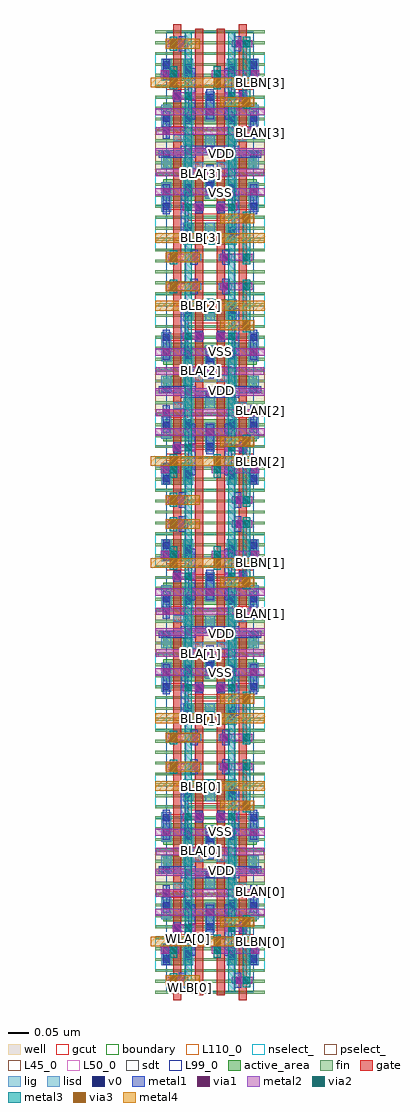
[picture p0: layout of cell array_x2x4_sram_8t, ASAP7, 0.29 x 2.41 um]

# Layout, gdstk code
from math import pi, radians
import gdstk
lib = gdstk.Library(unit=1e-6, precision=2.5e-10)
def R(c, l, rs):  # rectangles x0, y0, x1, y1
    for r in rs: c.add(gdstk.rectangle(r[:2], r[2:], *l))
def A(c, l, x, y, w, h, nx, ny, dx, dy):  # array of equal rectangles
    R(c, l, [(x+i*dx, y+j*dy, x+i*dx+w, y+j*dy+h) for i in range(nx) for j in range(ny)])
def P(c, l, *ps):  # polygons
    for p in ps: c.add(gdstk.Polygon(p, *l))
well = (1, 0)
fin = (2, 0)
gate = (7, 0)
gcut = (10, 0)
active_area = (11, 0)
nselect_ = (12, 0)
pselect_ = (13, 0)
lig = (16, 0)
lisd = (17, 0)
v0 = (18, 0)
metal1 = (19, 0)
metal2 = (20, 0)
via1 = (21, 0)
via2 = (25, 0)
metal3 = (30, 0)
via3 = (35, 0)
metal4 = (40, 0)
L45_0 = (45, 0)
L50_0 = (50, 0)
sdt = (88, 0)
L99_0 = (99, 0)
boundary = (100, 0)
L110_0 = (110, 0)

sram_cell_8t = lib.new_cell('sram_cell_8t')
R(sram_cell_8t, well, [(-0.027,0.081,0.135,0.189)])
A(sram_cell_8t, fin, -0.027, -0.1655, 0.162, 0.007, 1, 23, 0, 0.027)
R(sram_cell_8t, gate, [(0.017,-0.181,0.037,0.439), (0.071,-0.169,0.091,0.451)])
R(sram_cell_8t, gcut, [(0,-0.0355,0.054,-0.0185), (0.054,-0.0085,0.108,0.0085), (0,0.0715,0.054,0.0885), (0.054,0.1815,0.108,0.1985), (0,0.2615,0.054,0.2785), (0.054,0.2885,0.108,0.3055)])
R(sram_cell_8t, active_area, [(-0.008,-0.0945,0.062,-0.0405), (-0.008,0.0135,0.116,0.0675), (0.046,0.0945,0.116,0.1215), (-0.008,0.1485,0.062,0.1755), (-0.008,0.2025,0.116,0.2565), (0.046,0.3105,0.116,0.3645)])
R(sram_cell_8t, nselect_, [(-0.027,-0.108,0.135,-0.027), (-0.027,0,0.135,0.081), (-0.027,0.189,0.135,0.27), (-0.027,0.297,0.135,0.378)])
R(sram_cell_8t, pselect_, [(-0.027,0.081,0.135,0.189)])
R(sram_cell_8t, lig, [(0.017,-0.14,0.054,-0.124), (0.016,-0.0115,0.037,0.0045), (0.017,0.0935,0.054,0.1095), (0.054,0.1605,0.091,0.1765), (0.071,0.2655,0.092,0.2815), (0.054,0.388,0.086,0.404)])
R(sram_cell_8t, lisd, [(-0.012,-0.0945,0.012,-0.0405), (0.042,-0.0945,0.066,-0.0405), (0.096,-0.013,0.12,0.059), (-0.012,0.019,0.012,0.073), (0.042,0.0235,0.066,0.118), (0.096,0.0945,0.12,0.1385), (-0.012,0.1315,0.012,0.1755), (0.042,0.152,0.066,0.2465), (0.096,0.197,0.12,0.251), (-0.012,0.2105,0.012,0.283), (0.042,0.3105,0.066,0.3645), (0.096,0.3105,0.12,0.3645)])
R(sram_cell_8t, v0, [(0.0305,-0.141,0.0485,-0.123), (-0.009,-0.0885,0.009,-0.0705), (0.045,-0.0765,0.063,-0.0585), (0.018,-0.0125,0.036,0.0055), (0.099,-0.009,0.117,0.009), (-0.009,0.043,0.009,0.061), (0.045,0.043,0.063,0.061), (0.099,0.1205,0.117,0.1385), (-0.009,0.1315,0.009,0.1495), (0.099,0.209,0.117,0.227), (0.045,0.2195,0.063,0.2375), (-0.009,0.261,0.009,0.279), (0.072,0.2645,0.09,0.2825), (0.045,0.3285,0.063,0.3465), (0.099,0.339,0.117,0.357), (0.0595,0.387,0.0775,0.405)])
R(sram_cell_8t, metal1, [(0.0305,-0.151,0.0485,-0.113), (-0.009,-0.0935,0.009,-0.043), (0.099,-0.019,0.117,0.055), (0.018,-0.017,0.036,0.011), (-0.009,0.0345,0.009,0.1025), (0.099,0.1675,0.117,0.2355), (-0.009,0.215,0.009,0.289), (0.072,0.2585,0.09,0.2865), (0.099,0.334,0.117,0.362), (0.0595,0.377,0.0775,0.415)])
P(sram_cell_8t, metal1, [(0.127,0.1385),(0.0725,0.1385),(0.0725,0.1495),(-0.019,0.1495),(-0.019,0.1315),(0.0355,0.1315),(0.0355,0.1205),(0.127,0.1205)],
  [(0.045,-0.0815),(0.063,-0.0815),(0.063,-0.0715),(0.072,-0.0715),(0.072,0.056),(0.063,0.056),(0.063,0.066),(0.045,0.066),(0.045,0.038),(0.054,0.038),(0.054,-0.0535),(0.045,-0.0535)],
  [(0.045,0.2155),(0.063,0.2155),(0.063,0.2435),(0.054,0.2435),(0.054,0.3235),(0.063,0.3235),(0.063,0.3515),(0.045,0.3515),(0.045,0.3415),(0.036,0.3415),(0.036,0.2255),(0.045,0.2255)])
A(sram_cell_8t, metal2, -0.027, 0.027, 0.162, 0.018, 1, 3, 0, 0.099)
R(sram_cell_8t, metal2, [(0.004,-0.141,0.0535,-0.123), (-0.014,-0.066,0.032,-0.048), (0.016,-0.012,0.072,0.006), (-0.026,0.0745,0.136,0.0925), (-0.026,0.1775,0.136,0.1955), (0.04,0.2635,0.092,0.2815), (0.093,0.339,0.123,0.357), (0.004,0.387,0.0825,0.405)])
R(sram_cell_8t, via1, [(0.0305,-0.141,0.0485,-0.123), (-0.009,-0.066,0.009,-0.048), (0.018,-0.012,0.036,0.006), (0.099,0.027,0.117,0.045), (-0.009,0.0745,0.009,0.0925), (0.045,0.126,0.063,0.144), (0.099,0.1775,0.117,0.1955), (-0.009,0.225,0.009,0.243), (0.072,0.2635,0.09,0.2815), (0.099,0.339,0.117,0.357), (0.0595,0.387,0.0775,0.405)])
R(sram_cell_8t, via2, [(0.009,-0.141,0.027,-0.123), (0.009,-0.066,0.027,-0.048), (0.045,-0.012,0.063,0.006), (0.045,0.2635,0.063,0.2815), (0.099,0.339,0.117,0.357), (0.009,0.387,0.027,0.405)])
R(sram_cell_8t, metal3, [(0.045,-0.162,0.063,0.432), (0.009,-0.149,0.027,-0.115), (0.009,-0.077,0.027,-0.019), (0.099,0.331,0.117,0.365), (0.009,0.379,0.027,0.413)])
R(sram_cell_8t, via3, [(0.009,-0.144,0.027,-0.12), (0.009,-0.048,0.027,-0.024), (0.099,0.336,0.117,0.36), (0.009,0.384,0.027,0.408)])
R(sram_cell_8t, metal4, [(-0.002,-0.144,0.083,-0.12), (-0.038,-0.048,0.135,-0.024), (-0.027,0.336,0.135,0.36), (-0.002,0.384,0.083,0.408)])
R(sram_cell_8t, L45_0, [(0.048,-0.144,0.072,-0.12), (0.048,0.384,0.072,0.408)])
R(sram_cell_8t, L50_0, [(0.048,-0.162,0.072,0.432)])
R(sram_cell_8t, sdt, [(-0.012,-0.0945,0.012,-0.0405), (0.042,-0.0945,0.066,-0.0405), (0.096,0.005,0.12,0.059), (-0.012,0.019,0.012,0.073), (0.042,0.0235,0.066,0.0775), (0.042,0.091,0.066,0.118), (0.096,0.0945,0.12,0.1215), (-0.012,0.1485,0.012,0.1755), (0.042,0.152,0.066,0.179), (0.042,0.1925,0.066,0.2465), (0.096,0.197,0.12,0.251), (-0.012,0.2105,0.012,0.2645), (0.042,0.3105,0.066,0.3645), (0.096,0.3105,0.12,0.3645)])
R(sram_cell_8t, L99_0, [(0,-0.162,0.108,0.432)])
R(sram_cell_8t, boundary, [(0,-0.162,0.108,0.432)])
R(sram_cell_8t, L110_0, [(0,-0.162,0.108,0.432)])
sram_cell_8t.add(gdstk.Label('vss!', (0.081,0.235), layer=20, texttype=251))
sram_cell_8t.add(gdstk.Label('vss!', (0.074,0.036), layer=20, texttype=251))
sram_cell_8t.add(gdstk.Label('vdd!', (0.0795,0.1395), layer=20, texttype=251))
sram_cell_8t.add(gdstk.Label('BLA', (0.13,0.1885), layer=20, texttype=251))
sram_cell_8t.add(gdstk.Label('BLAN', (-0.018,0.088), layer=20, texttype=251))
sram_cell_8t.add(gdstk.Label('WLA', (0.054,-0.028), layer=30, texttype=251))
sram_cell_8t.add(gdstk.Label('vdd!', (0.048,0.148), layer=1, texttype=251))
sram_cell_8t.add(gdstk.Label('vss!', (0.048,0.2245), layer=3, texttype=251))
sram_cell_8t.add(gdstk.Label('vss!', (0.048,0.044), layer=3, texttype=251))
sram_cell_8t.add(gdstk.Label('BLBN', (-0.018,-0.036), layer=40, texttype=251))
sram_cell_8t.add(gdstk.Label('BLB', (0.13,0.348), layer=40, texttype=251))
sram_cell_8t.add(gdstk.Label('WLB', (0.06,-0.15), layer=50, texttype=251))
sram_cell_8t.add(gdstk.Label('vss!', (0.048,-0.0675), layer=3, texttype=251))
sram_cell_8t.add(gdstk.Label('vss!', (0.048,0.3375), layer=3, texttype=251))

sram_cell_8t_b_end = lib.new_cell('sram_cell_8t_b_end')
R(sram_cell_8t_b_end, well, [(-0.027,0.081,0.135,0.189)])
A(sram_cell_8t_b_end, fin, -0.027, -0.1655, 0.162, 0.007, 1, 23, 0, 0.027)
R(sram_cell_8t_b_end, gate, [(0.017,-0.181,0.037,0.439), (0.071,-0.169,0.091,0.451)])
R(sram_cell_8t_b_end, gcut, [(0,-0.0355,0.054,-0.0185), (0.054,-0.0085,0.108,0.0085), (0,0.0715,0.054,0.0885), (0.054,0.1815,0.108,0.1985), (0,0.2615,0.054,0.2785), (0.054,0.2885,0.108,0.3055)])
R(sram_cell_8t_b_end, active_area, [(-0.008,-0.0945,0.062,-0.0405), (-0.008,0.0135,0.116,0.0675), (0.046,0.0945,0.116,0.1215), (-0.008,0.1485,0.062,0.1755), (-0.008,0.2025,0.116,0.2565), (0.046,0.3105,0.116,0.3645)])
R(sram_cell_8t_b_end, nselect_, [(-0.027,-0.108,0.135,-0.027), (-0.027,0,0.135,0.081), (-0.027,0.189,0.135,0.27), (-0.027,0.297,0.135,0.378)])
R(sram_cell_8t_b_end, pselect_, [(-0.027,0.081,0.135,0.189)])
R(sram_cell_8t_b_end, lig, [(0.017,-0.14,0.054,-0.124), (0.016,-0.0115,0.037,0.0045), (0.017,0.0935,0.054,0.1095), (0.054,0.1605,0.091,0.1765), (0.071,0.2655,0.092,0.2815), (0.054,0.388,0.086,0.404)])
R(sram_cell_8t_b_end, lisd, [(-0.012,-0.0945,0.012,-0.0405), (0.042,-0.0945,0.066,-0.0405), (0.096,-0.013,0.12,0.059), (-0.012,0.019,0.012,0.073), (0.042,0.0235,0.066,0.118), (0.096,0.0945,0.12,0.1385), (-0.012,0.1315,0.012,0.1755), (0.042,0.152,0.066,0.2465), (0.096,0.197,0.12,0.251), (-0.012,0.2105,0.012,0.283), (0.042,0.3105,0.066,0.3645), (0.096,0.3105,0.12,0.3645)])
R(sram_cell_8t_b_end, v0, [(0.0305,-0.141,0.0485,-0.123), (-0.009,-0.0885,0.009,-0.0705), (0.045,-0.0765,0.063,-0.0585), (0.018,-0.0125,0.036,0.0055), (0.099,-0.009,0.117,0.009), (-0.009,0.043,0.009,0.061), (0.045,0.043,0.063,0.061), (0.099,0.1205,0.117,0.1385), (-0.009,0.1315,0.009,0.1495), (0.099,0.209,0.117,0.227), (0.045,0.2195,0.063,0.2375), (-0.009,0.261,0.009,0.279), (0.072,0.2645,0.09,0.2825), (0.045,0.3285,0.063,0.3465), (0.099,0.339,0.117,0.357), (0.0595,0.387,0.0775,0.405)])
R(sram_cell_8t_b_end, metal1, [(0.0305,-0.151,0.0485,-0.113), (-0.009,-0.0935,0.009,-0.043), (0.099,-0.019,0.117,0.055), (0.018,-0.017,0.036,0.011), (-0.009,0.0345,0.009,0.1025), (0.099,0.1675,0.117,0.2355), (-0.009,0.215,0.009,0.289), (0.072,0.2585,0.09,0.2865), (0.099,0.334,0.117,0.362), (0.0595,0.377,0.0775,0.415)])
P(sram_cell_8t_b_end, metal1, [(0.127,0.1385),(0.0725,0.1385),(0.0725,0.1495),(-0.019,0.1495),(-0.019,0.1315),(0.0355,0.1315),(0.0355,0.1205),(0.127,0.1205)],
  [(0.045,-0.0815),(0.063,-0.0815),(0.063,-0.0715),(0.072,-0.0715),(0.072,0.056),(0.063,0.056),(0.063,0.066),(0.045,0.066),(0.045,0.038),(0.054,0.038),(0.054,-0.0535),(0.045,-0.0535)],
  [(0.045,0.2155),(0.063,0.2155),(0.063,0.2435),(0.054,0.2435),(0.054,0.3235),(0.063,0.3235),(0.063,0.3515),(0.045,0.3515),(0.045,0.3415),(0.036,0.3415),(0.036,0.2255),(0.045,0.2255)])
A(sram_cell_8t_b_end, metal2, -0.027, 0.027, 0.162, 0.018, 1, 3, 0, 0.099)
R(sram_cell_8t_b_end, metal2, [(0.004,-0.141,0.0535,-0.123), (-0.014,-0.066,0.104,-0.048), (0.016,-0.012,0.072,0.006), (-0.026,0.0745,0.136,0.0925), (-0.026,0.1775,0.136,0.1955), (0.04,0.2635,0.092,0.2815), (0.093,0.339,0.123,0.357), (0.004,0.387,0.0825,0.405)])
R(sram_cell_8t_b_end, via1, [(0.0305,-0.141,0.0485,-0.123), (-0.009,-0.066,0.009,-0.048), (0.018,-0.012,0.036,0.006), (0.099,0.027,0.117,0.045), (-0.009,0.0745,0.009,0.0925), (0.045,0.126,0.063,0.144), (0.099,0.1775,0.117,0.1955), (-0.009,0.225,0.009,0.243), (0.072,0.2635,0.09,0.2815), (0.099,0.339,0.117,0.357), (0.0595,0.387,0.0775,0.405)])
R(sram_cell_8t_b_end, via2, [(0.009,-0.141,0.027,-0.123), (0.081,-0.066,0.099,-0.048), (0.045,-0.012,0.063,0.006), (0.045,0.2635,0.063,0.2815), (0.099,0.339,0.117,0.357), (0.009,0.387,0.027,0.405)])
R(sram_cell_8t_b_end, metal3, [(0.045,-0.162,0.063,0.432), (0.009,-0.149,0.027,0.029), (0.081,-0.077,0.099,-0.019), (0.009,0.283,0.027,0.413), (0.099,0.331,0.117,0.365)])
R(sram_cell_8t_b_end, via3, [(0.081,-0.048,0.099,-0.024), (0.009,0,0.027,0.024), (0.009,0.288,0.027,0.312), (0.099,0.336,0.117,0.36)])
R(sram_cell_8t_b_end, metal4, [(-0.038,-0.048,0.135,-0.024), (-0.002,0,0.083,0.024), (-0.002,0.288,0.083,0.312), (-0.027,0.336,0.135,0.36)])
R(sram_cell_8t_b_end, L45_0, [(0.048,0,0.072,0.024), (0.048,0.288,0.072,0.312)])
R(sram_cell_8t_b_end, L50_0, [(0.048,-0.162,0.072,0.432)])
R(sram_cell_8t_b_end, sdt, [(-0.012,-0.0945,0.012,-0.0405), (0.042,-0.0945,0.066,-0.0405), (0.096,0.005,0.12,0.059), (-0.012,0.019,0.012,0.073), (0.042,0.0235,0.066,0.0775), (0.042,0.091,0.066,0.118), (0.096,0.0945,0.12,0.1215), (-0.012,0.1485,0.012,0.1755), (0.042,0.152,0.066,0.179), (0.042,0.1925,0.066,0.2465), (0.096,0.197,0.12,0.251), (-0.012,0.2105,0.012,0.2645), (0.042,0.3105,0.066,0.3645), (0.096,0.3105,0.12,0.3645)])
R(sram_cell_8t_b_end, L99_0, [(0,-0.162,0.108,0.432)])
R(sram_cell_8t_b_end, boundary, [(0,-0.162,0.108,0.432)])
R(sram_cell_8t_b_end, L110_0, [(0,-0.162,0.108,0.432)])
sram_cell_8t_b_end.add(gdstk.Label('vss!', (0.081,0.235), layer=20, texttype=251))
sram_cell_8t_b_end.add(gdstk.Label('vss!', (0.074,0.036), layer=20, texttype=251))
sram_cell_8t_b_end.add(gdstk.Label('vdd!', (0.0795,0.1395), layer=20, texttype=251))
sram_cell_8t_b_end.add(gdstk.Label('BLA', (0.13,0.1885), layer=20, texttype=251))
sram_cell_8t_b_end.add(gdstk.Label('BLAN', (-0.018,0.088), layer=20, texttype=251))
sram_cell_8t_b_end.add(gdstk.Label('WLA', (0.054,-0.028), layer=30, texttype=251))
sram_cell_8t_b_end.add(gdstk.Label('vdd!', (0.048,0.148), layer=1, texttype=251))
sram_cell_8t_b_end.add(gdstk.Label('vss!', (0.048,0.2245), layer=3, texttype=251))
sram_cell_8t_b_end.add(gdstk.Label('vss!', (0.048,0.044), layer=3, texttype=251))
sram_cell_8t_b_end.add(gdstk.Label('BLBN', (-0.018,-0.036), layer=40, texttype=251))
sram_cell_8t_b_end.add(gdstk.Label('BLB', (0.13,0.348), layer=40, texttype=251))
sram_cell_8t_b_end.add(gdstk.Label('WLB', (0.06,-0.15), layer=50, texttype=251))
sram_cell_8t_b_end.add(gdstk.Label('vss!', (0.048,-0.0675), layer=3, texttype=251))
sram_cell_8t_b_end.add(gdstk.Label('vss!', (0.048,0.3375), layer=3, texttype=251))

sramcol_x2_sram_8t = lib.new_cell('sramcol_x2_sram_8t')
R(sramcol_x2_sram_8t, boundary, [(0,0,0.216,0.594)])
sramcol_x2_sram_8t.add(gdstk.Reference(sram_cell_8t, (0,0.162)))
sramcol_x2_sram_8t.add(gdstk.Reference(sram_cell_8t_b_end, (0.216,0.162), rotation=pi, x_reflection=True))
sramcol_x2_sram_8t.add(gdstk.Label('WLA[0]', (0.054,0.134), layer=30, texttype=251))
sramcol_x2_sram_8t.add(gdstk.Label('WLB[0]', (0.06,0.012), layer=50, texttype=251))
sramcol_x2_sram_8t.add(gdstk.Label('WLA[1]', (0.162,0.134), layer=30, texttype=251))
sramcol_x2_sram_8t.add(gdstk.Label('WLB[1]', (0.156,0.012), layer=50, texttype=251))
sramcol_x2_sram_8t.add(gdstk.Label('BLA', (0.086,0.3505), layer=20, texttype=251))
sramcol_x2_sram_8t.add(gdstk.Label('BLAN', (0.234,0.25), layer=20, texttype=251))
sramcol_x2_sram_8t.add(gdstk.Label('BLB', (0.086,0.51), layer=40, texttype=251))
sramcol_x2_sram_8t.add(gdstk.Label('BLBN', (0.234,0.126), layer=40, texttype=251))
sramcol_x2_sram_8t.add(gdstk.Label('VDD', (0.1365,0.3015), layer=20, texttype=251))
sramcol_x2_sram_8t.add(gdstk.Label('VSS', (0.135,0.397), layer=20, texttype=251))

array_x2x4_sram_8t = lib.new_cell('array_x2x4_sram_8t')
R(array_x2x4_sram_8t, boundary, [(0,0,0.216,2.376)])
array_x2x4_sram_8t.add(gdstk.Reference(sramcol_x2_sram_8t, (0,0)))
array_x2x4_sram_8t.add(gdstk.Reference(sramcol_x2_sram_8t, (0,1.188), x_reflection=True))
array_x2x4_sram_8t.add(gdstk.Reference(sramcol_x2_sram_8t, (0,1.188)))
array_x2x4_sram_8t.add(gdstk.Reference(sramcol_x2_sram_8t, (0,2.376), x_reflection=True))
array_x2x4_sram_8t.add(gdstk.Label('WLA[0]', (0.054,0.134), layer=30, texttype=251))
array_x2x4_sram_8t.add(gdstk.Label('WLA[1]', (0.162,0.134), layer=30, texttype=251))
array_x2x4_sram_8t.add(gdstk.Label('WLB[0]', (0.06,0.012), layer=50, texttype=251))
array_x2x4_sram_8t.add(gdstk.Label('WLB[1]', (0.156,0.012), layer=50, texttype=251))
array_x2x4_sram_8t.add(gdstk.Label('BLA[0]', (0.086,0.3505), layer=20, texttype=251))
array_x2x4_sram_8t.add(gdstk.Label('BLAN[0]', (0.234,0.25), layer=20, texttype=251))
array_x2x4_sram_8t.add(gdstk.Label('BLB[0]', (0.086,0.51), layer=40, texttype=251))
array_x2x4_sram_8t.add(gdstk.Label('BLBN[0]', (0.234,0.126), layer=40, texttype=251))
array_x2x4_sram_8t.add(gdstk.Label('BLA[1]', (0.086,0.8375), layer=20, texttype=251))
array_x2x4_sram_8t.add(gdstk.Label('BLAN[1]', (0.234,0.938), layer=20, texttype=251))
array_x2x4_sram_8t.add(gdstk.Label('BLB[1]', (0.086,0.678), layer=40, texttype=251))
array_x2x4_sram_8t.add(gdstk.Label('BLBN[1]', (0.234,1.062), layer=40, texttype=251))
array_x2x4_sram_8t.add(gdstk.Label('BLA[2]', (0.086,1.5385), layer=20, texttype=251))
array_x2x4_sram_8t.add(gdstk.Label('BLAN[2]', (0.234,1.438), layer=20, texttype=251))
array_x2x4_sram_8t.add(gdstk.Label('BLB[2]', (0.086,1.698), layer=40, texttype=251))
array_x2x4_sram_8t.add(gdstk.Label('BLBN[2]', (0.234,1.314), layer=40, texttype=251))
array_x2x4_sram_8t.add(gdstk.Label('BLA[3]', (0.086,2.0255), layer=20, texttype=251))
array_x2x4_sram_8t.add(gdstk.Label('BLAN[3]', (0.234,2.126), layer=20, texttype=251))
array_x2x4_sram_8t.add(gdstk.Label('BLB[3]', (0.086,1.866), layer=40, texttype=251))
array_x2x4_sram_8t.add(gdstk.Label('BLBN[3]', (0.234,2.25), layer=40, texttype=251))
array_x2x4_sram_8t.add(gdstk.Label('VDD', (0.1365,0.3015), layer=20, texttype=251))
array_x2x4_sram_8t.add(gdstk.Label('VDD', (0.1365,0.8865), layer=20, texttype=251))
array_x2x4_sram_8t.add(gdstk.Label('VDD', (0.1365,1.4895), layer=20, texttype=251))
array_x2x4_sram_8t.add(gdstk.Label('VDD', (0.1365,2.0745), layer=20, texttype=251))
array_x2x4_sram_8t.add(gdstk.Label('VSS', (0.135,0.397), layer=20, texttype=251))
array_x2x4_sram_8t.add(gdstk.Label('VSS', (0.135,0.791), layer=20, texttype=251))
array_x2x4_sram_8t.add(gdstk.Label('VSS', (0.135,1.585), layer=20, texttype=251))
array_x2x4_sram_8t.add(gdstk.Label('VSS', (0.135,1.979), layer=20, texttype=251))

lib.write_gds('array_x2x4_sram_8t.gds')
